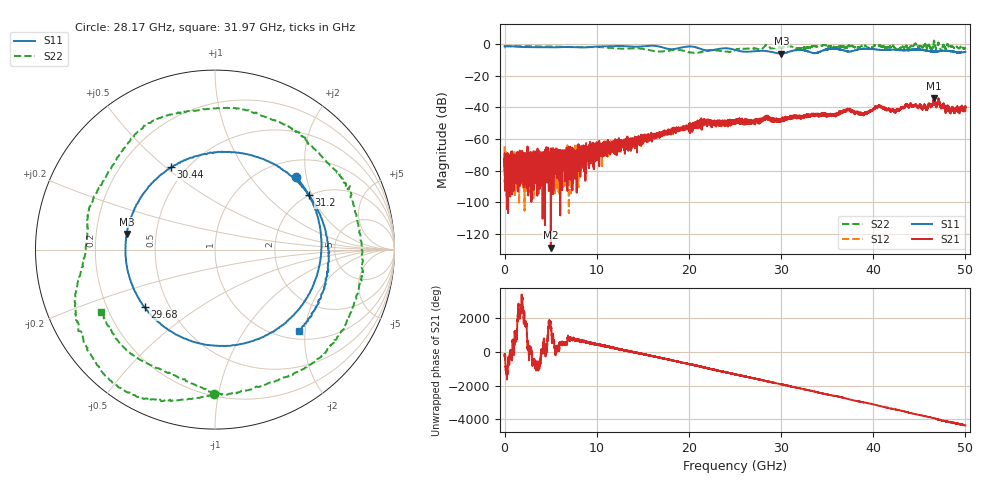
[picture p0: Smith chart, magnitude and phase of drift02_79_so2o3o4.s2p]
!Created with skrf (http://scikit-rf.org).
# Hz S RI R 50.0
!freq ReS11 ImS11 ReS21 ImS21 ReS12 ImS12 ReS22 ImS22
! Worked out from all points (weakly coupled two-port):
!   10001 points, 300 kHz to 50 GHz, reference 50 ohm
!   highest |S21| = -34.28 dB at 46.6 GHz (marker M1); lowest = -128.7 dB at 5.015 GHz (marker M2)
!   lowest |S11| = -6.1 dB at 30.05 GHz (marker M3), VSWR 2.98, Z = 16.9 + j3.93 ohm
!   |S11| at or under -10 dB: nowhere
!   |S22| runs from -5.7 to 2.2 dB; largest |S21 - S12| = 0.0032
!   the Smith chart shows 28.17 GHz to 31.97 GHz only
!   S11 on the Smith chart (normalised r, x): 28.17 GHz: 1.37, +1.75; 29.68 GHz: 0.36, -0.31; 30.44 GHz: 0.41, +0.52; 31.2 GHz: 1.99, +1.90; 31.97 GHz: 1.18, -1.87
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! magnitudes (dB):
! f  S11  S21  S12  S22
! 300 kHz  -1.3  -77.0  -64.6  -2.0
! 255.3 MHz  -1.4  -71.8  -95.7  -1.4
! 5.015 GHz  -2.1  -128.7  -71.3  -1.6
! 8.335 GHz  -2.2  -73.8  -68.3  -1.9
! 16.67 GHz  -1.5  -57.8  -56.9  -4.7
! 21.67 GHz  -3.8  -49.6  -50.5  -4.6
! 25 GHz  -3.7  -50.3  -48.1  -3.9
! 28.17 GHz  -4.3  -47.0  -47.0  -1.9
! 29.68 GHz  -5.9  -49.1  -48.3  -2.1
! 30.05 GHz  -6.1  -47.5  -48.7  -2.0
! 30.44 GHz  -5.7  -46.5  -47.4  -1.8
! 31.2 GHz  -4.4  -45.7  -46.4  -1.7
! 31.97 GHz  -3.7  -45.8  -45.7  -2.8
! 33.34 GHz  -5.5  -44.6  -45.0  -1.5
! 35.63 GHz  -2.9  -44.5  -44.7  -1.5
! 37.29 GHz  -4.8  -41.7  -41.6  -1.2
! 38.88 GHz  -3.0  -43.9  -43.9  -1.3
! 40.62 GHz  -3.6  -38.8  -39.4  -0.9
! 41.67 GHz  -3.6  -40.7  -41.1  -1.9
! 46.6 GHz  -4.6  -34.3  -34.3  1.8
! 48.52 GHz  -4.6  -41.4  -40.7  -1.5
! 50 GHz  -4.9  -42.1  -40.0  -2.7
